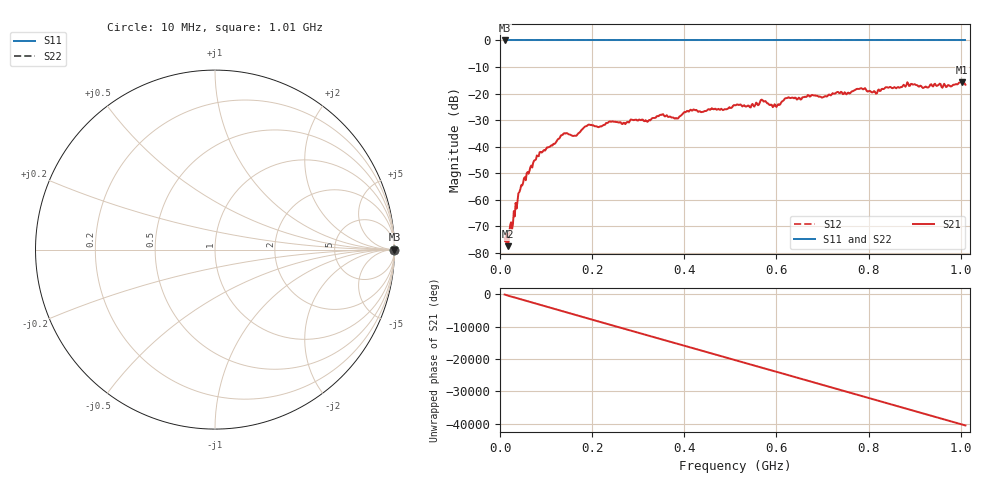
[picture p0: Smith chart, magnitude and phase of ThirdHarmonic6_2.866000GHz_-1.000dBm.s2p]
! 8/17/2025 7:49:13 AM
! C:\ANRITSUVNA\TEMP\TEMP.S2P
! CHANNEL.1
! TR.MEASUREMENT
! RAW.DATA
! RF.CORRECTION.OFF
! AVERAGING.OFF
! IF.BANDWIDTH: 5KHZ
! SWEEPTYPE:  FREQ.SWEEP(Linear)
! Reference Plane Port Info
! PORT:  PORT1  PORT2
! DISTANCE:  0  m  0  m
! TIME:  0  s  0  s
! PHASE.OFFSET:  0  deg.  0  deg.
! LOSS:  0  dB  0  dB
! REF.LOSS:  0  dB  0  dB
! REF.FREQ:  0  Hz  0  Hz
! Power Info
! POWER:  -20  dBm  -20  dBm
! EFF.POWER:  -20  dBm  -20  dBm
! SOURCE.ATTEN:  0  dB  0  dB
! TEST.ATTEN:  0  dB  0  dB
# GHZ S RI R 50.0
! FREQ.GHZ  S11RE  S11IM  S21RE  S21IM  S12RE  S12IM  S22RE  S22IM
!; PortSelection: Port_12
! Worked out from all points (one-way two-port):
!   501 points, 10 MHz to 1.01 GHz, reference 50 ohm
!   highest |S21| = -15.77 dB at 1.002 GHz (marker M1); lowest = -77.5 dB at 18 MHz (marker M2)
!   lowest |S11| = 0.0 dB at 10 MHz (marker M3)
!   |S11| at or under -10 dB: nowhere
!   |S22| runs from 0.0 to 0.0 dB; largest |S21 - S12| = 1.2
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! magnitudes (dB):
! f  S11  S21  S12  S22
! 10 MHz  0.0  -74.4  0.0  0.0
! 14 MHz  0.0  -72.6  0.0  0.0
! 18 MHz  0.0  -77.5  0.0  0.0
! 44 MHz  0.0  -56.2  0.0  0.0
! 76 MHz  0.0  -45.1  0.0  0.0
! 136 MHz  0.0  -35.6  0.0  0.0
! 162 MHz  0.0  -35.9  0.0  0.0
! 178 MHz  0.0  -33.6  0.0  0.0
! 344 MHz  0.0  -28.5  0.0  0.0
! 382 MHz  0.0  -29.2  0.0  0.0
! 416 MHz  0.0  -26.5  0.0  0.0
! 510 MHz  0.0  -24.4  0.0  0.0
! 540 MHz  0.0  -24.6  0.0  0.0
! 570 MHz  0.0  -22.5  0.0  0.0
! 596 MHz  0.0  -24.1  0.0  0.0
! 622 MHz  0.0  -21.7  0.0  0.0
! 678 MHz  0.0  -20.6  0.0  0.0
! 780 MHz  0.0  -18.2  0.0  0.0
! 814 MHz  0.0  -19.4  0.0  0.0
! 844 MHz  0.0  -17.7  0.0  0.0
! 1.002 GHz  0.0  -15.8  0.0  0.0
! 1.01 GHz  0.0  -16.7  0.0  0.0
